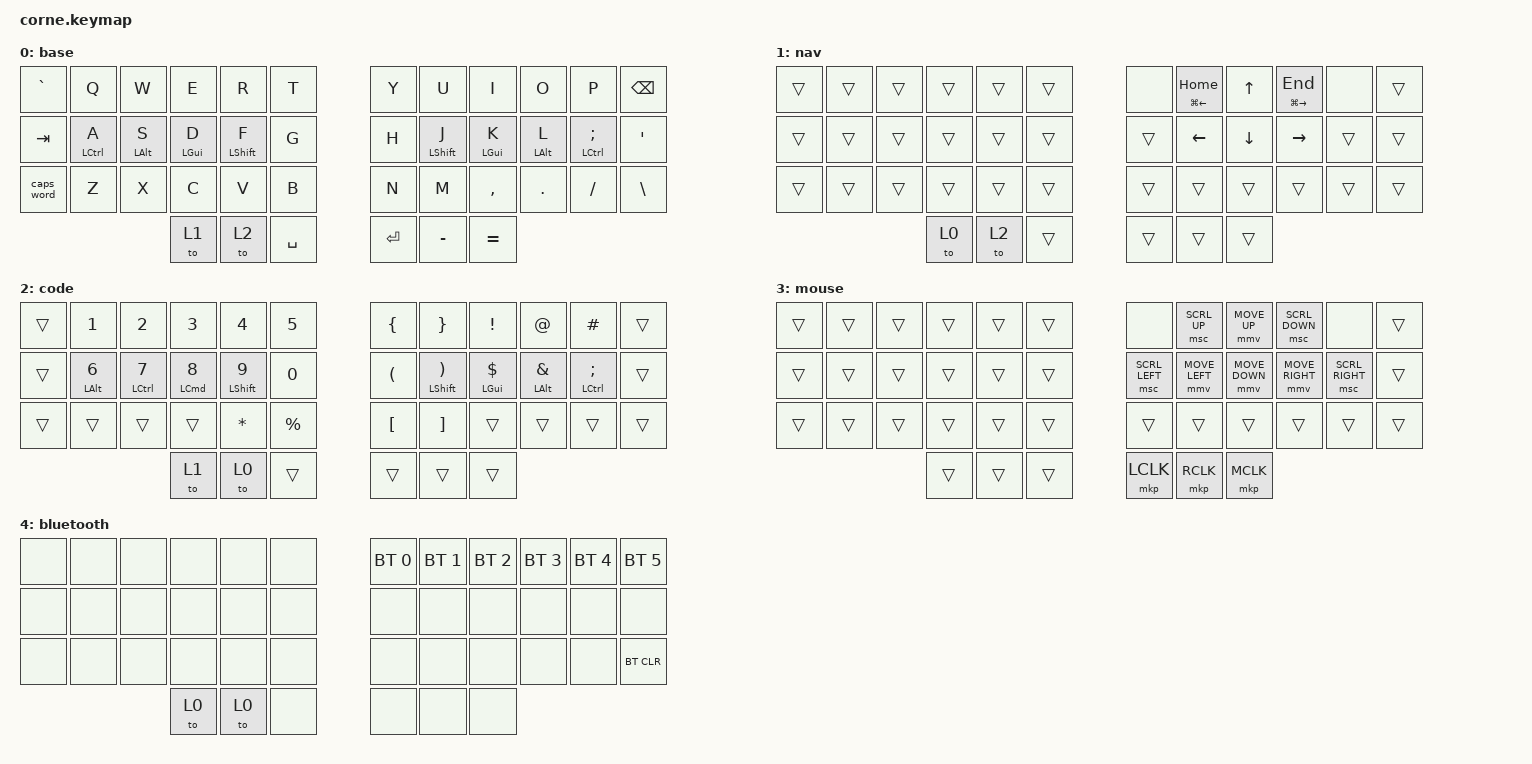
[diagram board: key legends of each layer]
/*
 * Copyright (c) 2020 The ZMK Contributors
 * SPDX-License-Identifier: MIT
 */

#include <behaviors.dtsi>
#include <dt-bindings/zmk/bt.h>
#include <dt-bindings/zmk/keys.h>
#include <dt-bindings/zmk/pointing.h>

// Corne 6-row keyboard

#define KEYS_L 0 1 2 3 4 5 12 13 14 15 16 17 24 25 26 27 28 29
#define KEYS_R 6 7 8 9 10 11 18 19 20 21 22 23 30 31 32 33 34 35
#define THUMBS 36 37 38 39 40 41
#define SEARCH LS(LC(LA(LG(F20))))
#define ZMK_POINTING_DEFAULT_MOVE_VAL 3000
#define ZMK_POINTING_DEFAULT_SCRL_VAL 80

&mmv {
};

/ {
    // ╭──────────────────────────────────────────────────────────╮
    // │ ⚡ COMBOS                                                     │
    // ╰──────────────────────────────────────────────────────────╯

    combos {
        compatible = "zmk,combos";

        // ─── NAV: PREV (Cmd + [) ──────────────────
        // Action: Navigate backward in browser/IDE.
        // Right Hand Top: [ Y ] [ U ]

        prev {
            bindings = <&kp LG(LEFT_BRACKET)>;
            key-positions = <7 6>;
        };

        // ─── NAV: NEXT (Cmd + ]) ──────────────────
        // Action: Navigate forward in browser/IDE.
        // Right Hand Top: [ U ] [ I ]

        next {
            bindings = <&kp LG(RIGHT_BRACKET)>;
            key-positions = <8 7>;
        };

        // ─── EDIT: DELETE ─────────────────────────
        // Action: Standard forward delete.
        // Right Hand Top: [ P ] [BSPC]

        del {
            bindings = <&kp DELETE>;
            key-positions = <11 10>;
        };

        // ─── LAYER: BLUETOOTH PAIRING ─────────────
        // Action: Activate Bluetooth sticky layer.
        // Right Hand Top: [ I ] [ O ] [ P ] [BSPC]

        bt {
            bindings = <&sl 4>;
            key-positions = <11 10 9 8>;
        };

        // ─── SYSTEM: BOOTLOADER ───────────────────
        // Action: Enter flashing mode.
        // Left Hand Top: [ W ] [ E ] [ R ] [ T ]

        boot {
            bindings = <&bootloader>;
            key-positions = <5 4 3 2>;
            layers = <0>;
        };

        // ─── KEY: ESCAPE ──────────────────────────
        // Action: Standard Escape key.
        // Left Thumbs:  [ L1 ] [ L2 ]

        esc {
            bindings = <&kp ESCAPE>;
            key-positions = <38 37>;
        };

        // ─── NAV: SEEK (Alt + Ctrl + F10) ──────────
        // Action: Media seek or custom IDE shortcut.
        // Right Thumbs: [ENT ] [ -  ]

        seek {
            bindings = <&kp LA(LC(F10))>;
            key-positions = <39 40>;
        };

        // ─── IDE: PREVIOUS METHOD ─────────────────
        // Action: Jump to previous code block.
        // Left Hand Top: [ E ] [ R ]

        prev_method {
            bindings = <&kp LS(LC(UP_ARROW))>;
            key-positions = <4 3>;
        };

        // ─── IDE: NEXT METHOD ─────────────────────
        // Action: Jump to next code block.
        // Left Hand Top: [ R ] [ T ]

        next_method {
            bindings = <&kp LS(LC(DOWN))>;
            key-positions = <4 5>;
        };

        // ─── LAYER: ENTER MOUSE MODE ──────────────
        // Action: Switch to mouse control layer.
        // Left Thumbs:  [ L0 ] [ L1 ]

        to-mouse {
            bindings = <&to 3>;
            key-positions = <37 36>;
            layers = <0 1 2 4 5>;
        };

        // ─── LAYER: EXIT MOUSE MODE ───────────────
        // Action: Return to base from mouse layer.
        // Left Thumbs:  [ L0 ] [ L1 ]

        to-base-from-mouse {
            bindings = <&to 0>;
            key-positions = <37 36>;
            layers = <3>;
        };
    };

    // ╭──────────────────────────────────────────────────────────╮
    // │ ⚙️ BEHAVIORS                                                  │
    // ╰──────────────────────────────────────────────────────────╯

    behaviors {
        hrml: home_row_mod_left {
            compatible = "zmk,behavior-hold-tap";
            #binding-cells = <2>;
            flavor = "balanced";
            tapping-term-ms = <180>;
            quick-tap-ms = <175>;
            require-prior-idle-ms = <150>;
            bindings = <&kp>, <&kp>;

            hold-trigger-key-positions = <KEYS_L KEYS_R THUMBS>;
            hold-trigger-on-release;
        };

        hrmr: home_row_mod_right {
            compatible = "zmk,behavior-hold-tap";
            #binding-cells = <2>;
            flavor = "balanced";
            tapping-term-ms = <180>;
            quick-tap-ms = <175>;
            require-prior-idle-ms = <150>;
            bindings = <&kp>, <&kp>;

            hold-trigger-key-positions = <KEYS_R KEYS_L THUMBS>;
            hold-trigger-on-release;
        };
    };

    // ╭──────────────────────────────────────────────────────────╮
    // │ ⌨️ KEYMAP                                                     │
    // ╰──────────────────────────────────────────────────────────╯

    keymap {
        compatible = "zmk,keymap";

        // ─── LAYER 0: BASE ⌨️ ───────────────────────────────────────────
        // home row mods, boi!

        base {
            bindings = <
&kp GRAVE   &kp Q          &kp W         &kp E         &kp R           &kp T        &kp Y      &kp U           &kp I         &kp O         &kp P             &kp BSPC
&kp TAB     &hrml LCTRL A  &hrml LALT S  &hrml LGUI D  &hrml LSHIFT F  &kp G        &kp H      &hrmr LSHIFT J  &hrmr LGUI K  &hrmr LALT L  &hrmr LCTRL SEMI  &kp SQT
&caps_word  &kp Z          &kp X         &kp C         &kp V           &kp B        &kp N      &kp M           &kp COMMA     &kp DOT       &kp FSLH          &kp BACKSLASH
                                         &to 1         &to 2           &kp SPACE    &kp ENTER  &kp MINUS       &kp EQUAL
            >;
        };

        // ─── LAYER 1: NAV 🧭 ────────────────────────────────────────────
        // move around lines with arrows keys, and make the left + right click available
        // as the key code for the context menu doesn't always triggr it. this allows you to
        // navigate around words, and than right click to do things like correct spelling

        nav {
            bindings = <
&trans  &trans  &trans  &trans  &trans  &trans    &none   &mt LG(LEFT) HOME  &kp UP    &mt LG(RIGHT) END  &none   &trans
&trans  &trans  &trans  &trans  &trans  &trans    &trans  &kp LEFT           &kp DOWN  &kp RIGHT          &trans  &trans
&trans  &trans  &trans  &trans  &trans  &trans    &trans  &trans             &trans    &trans             &trans  &trans
                        &to 0   &to 2   &trans    &trans  &trans             &trans
            >;
        };

        // ─── LAYER 2: CODE 💻 ───────────────────────────────────────────
        // left hand has numbers with 1 starting at Q spanning the first and second rows with G as 0
        // right hand has symbols with only asterisk and percent, being less used, on the left hand
        // both hands have home row mods

        code {
            bindings = <
&trans  &kp N1                   &kp N2          &kp N3                 &kp N4               &kp N5         &kp LEFT_BRACE        &kp RIGHT_BRACE                     &kp EXCLAMATION        &kp AT                    &kp HASH                 &trans
&trans  &hrml LEFT_ALT NUMBER_6  &hrml LCTRL N7  &hrml LEFT_COMMAND N8  &hrml LEFT_SHIFT N9  &kp N0         &kp LEFT_PARENTHESIS  &hrmr LEFT_SHIFT RIGHT_PARENTHESIS  &hrmr LEFT_GUI DOLLAR  &hrmr LEFT_ALT AMPERSAND  &hrmr LEFT_CONTROL SEMI  &trans
&trans  &trans                   &trans          &trans                 &kp ASTERISK         &kp PERCENT    &kp LEFT_BRACKET      &kp RIGHT_BRACKET                   &trans                 &trans                    &trans                   &trans
                                                 &to 1                  &to 0                &trans         &trans                &trans                              &trans
            >;
        };

        // ─── LAYER 3: MOUSE 🖱️ ──────────────────────────────────────────
        // navigate with right hand, and click with right thumb-cluster
        // leaves left hand open for home row operations like ⌘ + C

        mouse {
            bindings = <
&trans  &trans  &trans  &trans  &trans  &trans    &none           &msc SCRL_UP    &mmv MOVE_UP    &msc SCRL_DOWN   &none            &trans
&trans  &trans  &trans  &trans  &trans  &trans    &msc SCRL_LEFT  &mmv MOVE_LEFT  &mmv MOVE_DOWN  &mmv MOVE_RIGHT  &msc SCRL_RIGHT  &trans
&trans  &trans  &trans  &trans  &trans  &trans    &trans          &trans          &trans          &trans           &trans           &trans
                        &trans  &trans  &trans    &mkp LCLK       &mkp RCLK       &mkp MCLK
            >;
        };

        // ─── LAYER 4: BLUETOOTH 📶 ──────────────────────────────────────

        bluetooth {
            bindings = <
&none  &none  &none  &none  &none  &none    &bt BT_SEL 0  &bt BT_SEL 1  &bt BT_SEL 2  &bt BT_SEL 3  &bt BT_SEL 4  &bt BT_SEL 5
&none  &none  &none  &none  &none  &none    &none         &none         &none         &none         &none         &none
&none  &none  &none  &none  &none  &none    &none         &none         &none         &none         &none         &bt BT_CLR
                     &to 0  &to 0  &none    &none         &none         &none
            >;
        };
    };
};
